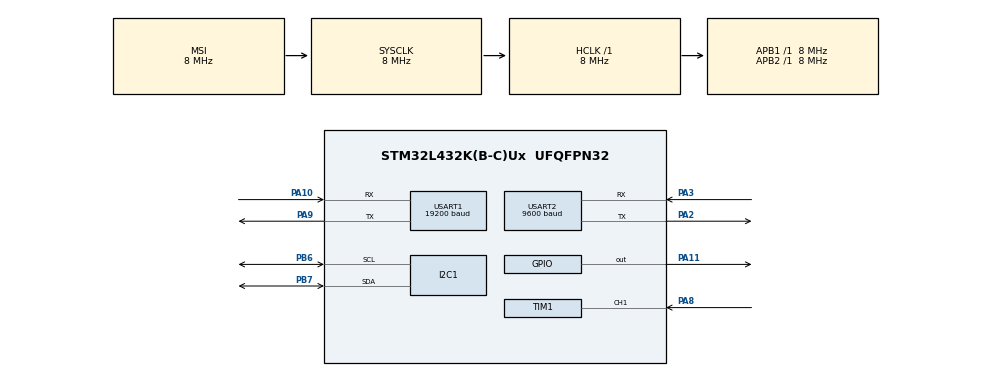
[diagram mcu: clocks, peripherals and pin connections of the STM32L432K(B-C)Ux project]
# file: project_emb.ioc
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I2C1.Timing=0x2000090E
Mcu.Family=STM32L4
Mcu.Name=STM32L432K(B-C)Ux
Mcu.Package=UFQFPN32
NVIC.PriorityGroup=NVIC_PRIORITYGROUP_4
NVIC.TIM1_CC_IRQn=true\:0\:0\:false\:false\:true\:true\:true
PA10.Mode=Asynchronous
PA10.Signal=USART1_RX
PA11.Signal=GPIO_Output
PA13\ (JTMS-SWDIO).Mode=Serial_Wire
PA13\ (JTMS-SWDIO).Signal=SYS_JTMS-SWDIO
PA14\ (JTCK-SWCLK).Mode=Serial_Wire
PA14\ (JTCK-SWCLK).Signal=SYS_JTCK-SWCLK
PA2.Mode=Asynchronous
PA2.Signal=USART2_TX
PA3.Mode=Asynchronous
PA3.Signal=USART2_RX
PA8.Signal=S_TIM1_CH1
PA9.Mode=Asynchronous
PA9.Signal=USART1_TX
PB6.Mode=I2C
PB6.Signal=I2C1_SCL
PB7.Mode=I2C
PB7.Signal=I2C1_SDA
PC14-OSC32_IN\ (PC14).Mode=LSE-External-Oscillator
PC14-OSC32_IN\ (PC14).Signal=RCC_OSC32_IN
PC15-OSC32_OUT\ (PC15).Mode=LSE-External-Oscillator
PC15-OSC32_OUT\ (PC15).Signal=RCC_OSC32_OUT
ProjectManager.HeapSize=0x200
ProjectManager.StackSize=0x400
ProjectManager.TargetToolchain=MDK-ARM V5
RCC.ADCFreq_Value=32000000
RCC.AHBFreq_Value=8000000
RCC.APB1Freq_Value=8000000
RCC.APB1TimFreq_Value=8000000
RCC.APB2Freq_Value=8000000
RCC.APB2TimFreq_Value=8000000
RCC.CortexFreq_Value=8000000
RCC.HCLKFreq_Value=8000000
RCC.HSE_VALUE=8000000
RCC.HSI48_VALUE=48000000
RCC.HSI_VALUE=16000000
RCC.MSIClockRange=RCC_MSIRANGE_7
RCC.MSI_VALUE=8000000
RCC.SYSCLKFreq_VALUE=8000000
RCC.USBFreq_Value=32000000
RCC.VCOOutputFreq_Value=64000000
SH.S_TIM1_CH1.0=TIM1_CH1,Input_Capture1_from_TI1
TIM1.Channel-Input_Capture1_from_TI1=TIM_CHANNEL_1
TIM1.Prescaler=7
USART1.BaudRate=19200
USART1.VirtualMode-Asynchronous=VM_ASYNC
USART2.BaudRate=9600
USART2.VirtualMode-Asynchronous=VM_ASYNC
VP_TIM1_VS_ClockSourceINT.Mode=Internal
board=custom

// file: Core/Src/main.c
/* USER CODE BEGIN Header */
/**
  ******************************************************************************
  * @file           : main.c
  * @brief          : Main program body
  ******************************************************************************
  * @attention
  *
  * <h2><center>&copy; Copyright (c) 2020 STMicroelectronics.
  * All rights reserved.</center></h2>
  *
  * This software component is licensed by ST under BSD 3-Clause license,
  * the "License"; You may not use this file except in compliance with the
  * License. You may obtain a copy of the License at:
  *                        opensource.org/licenses/BSD-3-Clause
  *
  ******************************************************************************
  */
/* USER CODE END Header */
#include "main.h"

/* USER CODE BEGIN Includes */
#include "stdio.h"
/* USER CODE END Includes */

/* USER CODE BEGIN PTD */
volatile float distance=1000;
uint8_t brake[4]={0xC0, 0x3F, 0xC8, 0x3F};
uint8_t turnRight[4]={0xC1, 0x00, 0xC9, 0x3F};
uint8_t turnLeft[4]={0xC1, 0x3F, 0xC9, 0x00};
uint8_t forward[4]={0xC1, 0x42, 0xC9, 0x40};
uint32_t time_ms;
volatile float pos_x=-0.84;
volatile float pos_y= 0.0;
uint32_t change_dir_tim = 0, Start_y_time = 0, Reroute_Time_X = 0, Reroute_Time_Y = 0;
/* USER CODE END PTD */

I2C_HandleTypeDef hi2c1;

TIM_HandleTypeDef htim1;

UART_HandleTypeDef huart1;
UART_HandleTypeDef huart2;

void SystemClock_Config(void);
static void MX_GPIO_Init(void);
static void MX_I2C1_Init(void);
static void MX_TIM1_Init(void);
static void MX_USART1_UART_Init(void);
static void MX_USART2_UART_Init(void);

/* USER CODE BEGIN 0 */

void change_dir(char dir)
{
	if (dir == 'R')
	{
			HAL_UART_Transmit(&huart1, brake, sizeof(brake), 100);
			HAL_Delay(500);
			HAL_UART_Transmit(&huart1, turnRight, sizeof(turnRight), 100);
			HAL_Delay(900);

	}

		if (dir == 'L')
	{
			HAL_UART_Transmit(&huart1, brake, sizeof(brake), 100);
			HAL_Delay(500);
			HAL_UART_Transmit(&huart1, turnLeft, sizeof(turnLeft), 100);
			HAL_Delay(900);
	}

}
void reroute(int dir)
{

		change_dir('R'); // 1400 ms
		HAL_UART_Transmit(&huart1, forward, sizeof(forward), 100);
		HAL_Delay(750); // 40 cm
		change_dir('L'); // 1400 ms
		HAL_UART_Transmit(&huart1, forward, sizeof(forward), 100);
		HAL_Delay(750); // 40 cm
		change_dir('L'); // 1400 ms
		HAL_UART_Transmit(&huart1, forward, sizeof(forward), 100);
		HAL_Delay(750); // 40 cm
		change_dir('R'); //1400 ms
		HAL_UART_Transmit(&huart1, forward, sizeof(forward), 100);

	if (dir == 0) //reroute occured while moving in x
	{
		pos_x += 0.4; //moved 40 cm in the mapping direction
	}
	else if (dir == 1) //reroute occured while moving in x
	{
		pos_y += 0.4; //moved 40 cm in the mapping direction
	}

}

void map(int x_final, int y_final)
{
	char output[100] = {0};
	char timer_out[100] = {0};
	char pos_x_out[100] = {0};
	char pos_y_out[100] = {0};

	  while (1)
  {

		if(pos_x < x_final && pos_y == 0)
		{
			// moving in x
			if (distance < 50)
			{
				reroute(0); // 0 means an obstacle is detected in x direction
				Reroute_Time_X += 7850;
				sprintf(pos_x_out, "pos_x: %.4f \r\n", pos_x);
				HAL_UART_Transmit(&huart2, (uint8_t*)pos_x_out, sizeof(pos_x_out), 50);
				sprintf(pos_y_out, "pos_y: %.4f \r\n", pos_y);
				distance = 1000;
			}
			else
			{
			pos_x = ((time_ms - Reroute_Time_X)/1000.0f)*0.55f;
			sprintf(pos_x_out, "pos_x: %.4f \r\n", pos_x);
		  HAL_UART_Transmit(&huart2, (uint8_t*)pos_x_out, sizeof(pos_x_out), 50);
			sprintf(pos_y_out, "pos_y: %.4f \r\n", pos_y);
		  HAL_UART_Transmit(&huart2, (uint8_t*)pos_y_out, sizeof(pos_y_out), 50);
			HAL_UART_Transmit(&huart1, forward, sizeof(forward), 100);
			}
	}
		else if (pos_x>x_final && pos_y ==0) //Reached the x_final mark forward, Change Direction
		{
			change_dir('R');
			Start_y_time = time_ms + 1400;
			pos_y +=0.001;

		}
		else if(pos_y<y_final){
			// moving in y
			if (distance < 50)
			{
				reroute(1); // 1 means an obstacle is detected in y direction
				Reroute_Time_Y += 7850;
				sprintf(pos_x_out, "pos_x: %.4f \r\n", pos_x);
				HAL_UART_Transmit(&huart2, (uint8_t*)pos_x_out, sizeof(pos_x_out), 50);
				sprintf(pos_y_out, "pos_y: %.4f \r\n", pos_y);
				distance = 1000;
			}
			else
			{
			pos_y = ((time_ms- Reroute_Time_Y - Start_y_time)/1000.0f)*0.55f;
			HAL_UART_Transmit(&huart1, forward, sizeof(forward), 100);
			sprintf(pos_x_out, "pos_x: %.4f \r\n", pos_x);
		  HAL_UART_Transmit(&huart2, (uint8_t*)pos_x_out, sizeof(pos_x_out), 50);
			sprintf(pos_y_out, "pos_y: %.4f \r\n", pos_y);
		  HAL_UART_Transmit(&huart2, (uint8_t*)pos_y_out, sizeof(pos_y_out), 50);
			}
		}
		else { //reached destination
		  HAL_UART_Transmit(&huart1, brake, sizeof(brake), 100);
			break;
		}

		//Ultrasonic Code
		// pull TRIG high
		HAL_GPIO_WritePin(GPIOA, GPIO_PIN_11, GPIO_PIN_SET);

		//Delay for 10 us
		__HAL_TIM_SET_COUNTER(&htim1, 0);
		while (__HAL_TIM_GET_COUNTER(&htim1)<10);

		// pull TRIG low
		HAL_GPIO_WritePin(GPIOA, GPIO_PIN_11, GPIO_PIN_RESET);
		// start TIM Input Capture measurement in interrupt mode
		HAL_TIM_IC_Start_IT (&htim1, TIM_CHANNEL_1);
		// wait for a little time
		HAL_Delay(10);

		time_ms = HAL_GetTick();
		sprintf(timer_out, "time: %d \r\n", time_ms);
		HAL_UART_Transmit(&huart2, (uint8_t*)timer_out, sizeof(timer_out), 50);

	}
}
/* USER CODE END 0 */

int main(void)
{

  /* MCU Configuration--------------------------------------------------------*/

  /* Reset of all peripherals, Initializes the Flash interface and the Systick. */
  HAL_Init();

  /* Configure the system clock */
  SystemClock_Config();

  /* Initialize all configured peripherals */
  MX_GPIO_Init();
  MX_I2C1_Init();
  MX_TIM1_Init();
  MX_USART1_UART_Init();
  MX_USART2_UART_Init();
  /* USER CODE BEGIN 2 */
	//uint8_t forward[4]={0xC2, 0x7F, 0xCA, 0x7F};

	HAL_TIM_Base_Start(&htim1);
	// Pull Trig output low for a little time
	HAL_GPIO_WritePin(GPIOA, GPIO_PIN_11, GPIO_PIN_RESET);
	HAL_Delay(100);
	map(6,1);
  /* USER CODE END 2 */

  /* Infinite loop */
  while (1)
  {

	}
}

void SystemClock_Config(void)
{
  RCC_OscInitTypeDef RCC_OscInitStruct = {0};
  RCC_ClkInitTypeDef RCC_ClkInitStruct = {0};
  RCC_PeriphCLKInitTypeDef PeriphClkInit = {0};

  /** Configure LSE Drive Capability
  */
  HAL_PWR_EnableBkUpAccess();
  __HAL_RCC_LSEDRIVE_CONFIG(RCC_LSEDRIVE_LOW);
  /** Initializes the RCC Oscillators according to the specified parameters
  * in the RCC_OscInitTypeDef structure.
  */
  RCC_OscInitStruct.OscillatorType = RCC_OSCILLATORTYPE_LSE|RCC_OSCILLATORTYPE_MSI;
  RCC_OscInitStruct.LSEState = RCC_LSE_ON;
  RCC_OscInitStruct.MSIState = RCC_MSI_ON;
  RCC_OscInitStruct.MSICalibrationValue = 0;
  RCC_OscInitStruct.MSIClockRange = RCC_MSIRANGE_7;
  RCC_OscInitStruct.PLL.PLLState = RCC_PLL_NONE;
  if (HAL_RCC_OscConfig(&RCC_OscInitStruct) != HAL_OK)
  {
    Error_Handler();
  }
  /** Initializes the CPU, AHB and APB buses clocks
  */
  RCC_ClkInitStruct.ClockType = RCC_CLOCKTYPE_HCLK|RCC_CLOCKTYPE_SYSCLK
                              |RCC_CLOCKTYPE_PCLK1|RCC_CLOCKTYPE_PCLK2;
  RCC_ClkInitStruct.SYSCLKSource = RCC_SYSCLKSOURCE_MSI;
  RCC_ClkInitStruct.AHBCLKDivider = RCC_SYSCLK_DIV1;
  RCC_ClkInitStruct.APB1CLKDivider = RCC_HCLK_DIV1;
  RCC_ClkInitStruct.APB2CLKDivider = RCC_HCLK_DIV1;

  if (HAL_RCC_ClockConfig(&RCC_ClkInitStruct, FLASH_LATENCY_0) != HAL_OK)
  {
    Error_Handler();
  }
  PeriphClkInit.PeriphClockSelection = RCC_PERIPHCLK_USART1|RCC_PERIPHCLK_USART2
                              |RCC_PERIPHCLK_I2C1;
  PeriphClkInit.Usart1ClockSelection = RCC_USART1CLKSOURCE_PCLK2;
  PeriphClkInit.Usart2ClockSelection = RCC_USART2CLKSOURCE_PCLK1;
  PeriphClkInit.I2c1ClockSelection = RCC_I2C1CLKSOURCE_PCLK1;
  if (HAL_RCCEx_PeriphCLKConfig(&PeriphClkInit) != HAL_OK)
  {
    Error_Handler();
  }
  /** Configure the main internal regulator output voltage
  */
  if (HAL_PWREx_ControlVoltageScaling(PWR_REGULATOR_VOLTAGE_SCALE1) != HAL_OK)
  {
    Error_Handler();
  }
  /** Enable MSI Auto calibration
  */
  HAL_RCCEx_EnableMSIPLLMode();
}

static void MX_I2C1_Init(void)
{

  hi2c1.Instance = I2C1;
  hi2c1.Init.Timing = 0x2000090E;
  hi2c1.Init.OwnAddress1 = 0;
  hi2c1.Init.AddressingMode = I2C_ADDRESSINGMODE_7BIT;
  hi2c1.Init.DualAddressMode = I2C_DUALADDRESS_DISABLE;
  hi2c1.Init.OwnAddress2 = 0;
  hi2c1.Init.OwnAddress2Masks = I2C_OA2_NOMASK;
  hi2c1.Init.GeneralCallMode = I2C_GENERALCALL_DISABLE;
  hi2c1.Init.NoStretchMode = I2C_NOSTRETCH_DISABLE;
  if (HAL_I2C_Init(&hi2c1) != HAL_OK)
  {
    Error_Handler();
  }
  /** Configure Analogue filter
  */
  if (HAL_I2CEx_ConfigAnalogFilter(&hi2c1, I2C_ANALOGFILTER_ENABLE) != HAL_OK)
  {
    Error_Handler();
  }
  /** Configure Digital filter
  */
  if (HAL_I2CEx_ConfigDigitalFilter(&hi2c1, 0) != HAL_OK)
  {
    Error_Handler();
  }

}

static void MX_TIM1_Init(void)
{

  TIM_ClockConfigTypeDef sClockSourceConfig = {0};
  TIM_MasterConfigTypeDef sMasterConfig = {0};
  TIM_IC_InitTypeDef sConfigIC = {0};

  htim1.Instance = TIM1;
  htim1.Init.Prescaler = 7;
  htim1.Init.CounterMode = TIM_COUNTERMODE_UP;
  htim1.Init.Period = 65535;
  htim1.Init.ClockDivision = TIM_CLOCKDIVISION_DIV1;
  htim1.Init.RepetitionCounter = 0;
  htim1.Init.AutoReloadPreload = TIM_AUTORELOAD_PRELOAD_DISABLE;
  if (HAL_TIM_Base_Init(&htim1) != HAL_OK)
  {
    Error_Handler();
  }
  sClockSourceConfig.ClockSource = TIM_CLOCKSOURCE_INTERNAL;
  if (HAL_TIM_ConfigClockSource(&htim1, &sClockSourceConfig) != HAL_OK)
  {
    Error_Handler();
  }
  if (HAL_TIM_IC_Init(&htim1) != HAL_OK)
  {
    Error_Handler();
  }
  sMasterConfig.MasterOutputTrigger = TIM_TRGO_RESET;
  sMasterConfig.MasterOutputTrigger2 = TIM_TRGO2_RESET;
  sMasterConfig.MasterSlaveMode = TIM_MASTERSLAVEMODE_DISABLE;
  if (HAL_TIMEx_MasterConfigSynchronization(&htim1, &sMasterConfig) != HAL_OK)
  {
    Error_Handler();
  }
  sConfigIC.ICPolarity = TIM_INPUTCHANNELPOLARITY_RISING;
  sConfigIC.ICSelection = TIM_ICSELECTION_DIRECTTI;
  sConfigIC.ICPrescaler = TIM_ICPSC_DIV1;
  sConfigIC.ICFilter = 0;
  if (HAL_TIM_IC_ConfigChannel(&htim1, &sConfigIC, TIM_CHANNEL_1) != HAL_OK)
  {
    Error_Handler();
  }

}

static void MX_USART1_UART_Init(void)
{

  huart1.Instance = USART1;
  huart1.Init.BaudRate = 19200;
  huart1.Init.WordLength = UART_WORDLENGTH_8B;
  huart1.Init.StopBits = UART_STOPBITS_1;
  huart1.Init.Parity = UART_PARITY_NONE;
  huart1.Init.Mode = UART_MODE_TX_RX;
  huart1.Init.HwFlowCtl = UART_HWCONTROL_NONE;
  huart1.Init.OverSampling = UART_OVERSAMPLING_16;
  huart1.Init.OneBitSampling = UART_ONE_BIT_SAMPLE_DISABLE;
  huart1.AdvancedInit.AdvFeatureInit = UART_ADVFEATURE_NO_INIT;
  if (HAL_UART_Init(&huart1) != HAL_OK)
  {
    Error_Handler();
  }

}

static void MX_USART2_UART_Init(void)
{

  huart2.Instance = USART2;
  huart2.Init.BaudRate = 9600;
  huart2.Init.WordLength = UART_WORDLENGTH_8B;
  huart2.Init.StopBits = UART_STOPBITS_1;
  huart2.Init.Parity = UART_PARITY_NONE;
  huart2.Init.Mode = UART_MODE_TX_RX;
  huart2.Init.HwFlowCtl = UART_HWCONTROL_NONE;
  huart2.Init.OverSampling = UART_OVERSAMPLING_16;
  huart2.Init.OneBitSampling = UART_ONE_BIT_SAMPLE_DISABLE;
  huart2.AdvancedInit.AdvFeatureInit = UART_ADVFEATURE_NO_INIT;
  if (HAL_UART_Init(&huart2) != HAL_OK)
  {
    Error_Handler();
  }

}

static void MX_GPIO_Init(void)
{
  GPIO_InitTypeDef GPIO_InitStruct = {0};

  /* GPIO Ports Clock Enable */
  __HAL_RCC_GPIOC_CLK_ENABLE();
  __HAL_RCC_GPIOA_CLK_ENABLE();
  __HAL_RCC_GPIOB_CLK_ENABLE();

  /*Configure GPIO pin Output Level */
  HAL_GPIO_WritePin(GPIOA, GPIO_PIN_11, GPIO_PIN_RESET);

  /*Configure GPIO pin : PA11 */
  GPIO_InitStruct.Pin = GPIO_PIN_11;
  GPIO_InitStruct.Mode = GPIO_MODE_OUTPUT_PP;
  GPIO_InitStruct.Pull = GPIO_NOPULL;
  GPIO_InitStruct.Speed = GPIO_SPEED_FREQ_LOW;
  HAL_GPIO_Init(GPIOA, &GPIO_InitStruct);

}

void Error_Handler(void)
{
}

/************************ (C) COPYRIGHT STMicroelectronics *****END OF FILE****/
